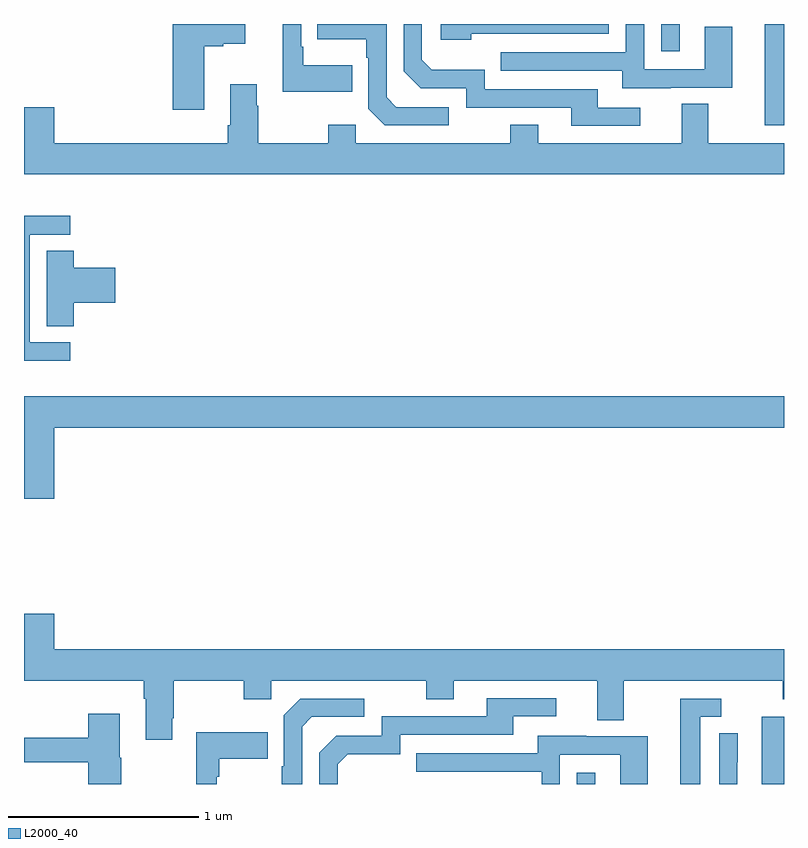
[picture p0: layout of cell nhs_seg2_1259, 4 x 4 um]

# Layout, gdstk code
import gdstk
lib = gdstk.Library(unit=1e-6, precision=1e-09)
def R(c, l, rs):  # rectangles x0, y0, x1, y1
    for r in rs: c.add(gdstk.rectangle(r[:2], r[2:], *l))
def P(c, l, *ps):  # polygons
    for p in ps: c.add(gdstk.Polygon(p, *l))
L2000_40 = (2000, 40)

nhs_seg2_1259 = lib.new_cell('nhs_seg2_1259')
R(nhs_seg2_1259, L2000_40, [(179.91,605.8,180.007,605.86), (180.884,605.8,181,606.154), (180.899,609.267,181,609.8), (180.354,609.657,180.451,609.8)])
P(nhs_seg2_1259, L2000_40, [(179.354,609.75),(180.078,609.75),(180.078,609.8),(179.193,609.8),(179.193,609.716),(179.354,609.716)],
  [(180.244,609.36),(180.019,609.36),(180.019,609.456),(179.424,609.456),(179.424,609.559),(179.147,609.559),(179.094,609.612),(179.094,609.8),(178.998,609.8),(178.998,609.552),(179.088,609.462),(179.328,609.462),(179.328,609.36),(179.879,609.36),(179.879,609.264),(180.244,609.264)],
  [(179.236,609.363),(178.959,609.363),(178.908,609.414),(178.908,609.8),(178.543,609.8),(178.543,609.719),(178.8,609.719),(178.8,609.623),(178.812,609.623),(178.812,609.354),(178.899,609.267),(179.236,609.267)],
  [(177.949,609.683),(178.049,609.683),(178.049,609.695),(178.165,609.695),(178.165,609.8),(177.782,609.8),(177.782,609.348),(177.949,609.348)],
  [(178.727,609.583),(178.471,609.583),(178.471,609.679),(178.458,609.679),(178.458,609.8),(178.361,609.8),(178.361,609.443),(178.727,609.443)],
  [(180.403,609.465),(180.727,609.465),(180.727,609.785),(180.582,609.785),(180.582,609.561),(180.264,609.561),(180.264,609.8),(180.168,609.8),(180.168,609.651),(179.509,609.651),(179.509,609.555),(180.149,609.555),(180.149,609.461),(180.403,609.461)],
  [(181,609.172),(180.601,609.172),(180.601,609.38),(180.461,609.38),(180.461,609.172),(179.707,609.172),(179.707,609.271),(179.56,609.271),(179.56,609.172),(178.746,609.172),(178.746,609.271),(178.6,609.271),(178.6,609.172),(178.233,609.172),(178.233,609.371),(178.225,609.371),(178.225,609.484),(178.085,609.484),(178.085,609.268),(178.073,609.268),(178.073,609.172),(177.16,609.172),(177.16,609.361),(177,609.361),(177,609.008),(181,609.008)],
  [(177.244,608.124),(177.03,608.124),(177.03,608.691),(177.244,608.691),(177.244,608.79),(177,608.79),(177,608.028),(177.244,608.028)],
  [(177.263,608.333),(177.481,608.333),(177.481,608.516),(177.263,608.516),(177.263,608.606),(177.119,608.606),(177.119,608.209),(177.263,608.209)],
  [(177.16,607.676),(181,607.676),(181,607.84),(177,607.84),(177,607.302),(177.16,607.302)],
  [(177.781,606.145),(177.789,606.145),(177.789,606.344),(178.156,606.344),(178.156,606.245),(178.302,606.245),(178.302,606.344),(179.116,606.344),(179.116,606.245),(179.263,606.245),(179.263,606.344),(180.017,606.344),(180.017,606.136),(180.157,606.136),(180.157,606.344),(180.994,606.344),(180.994,606.245),(181,606.245),(181,606.508),(177.16,606.508),(177.16,606.697),(177,606.697),(177,606.344),(177.629,606.344),(177.629,606.248),(177.641,606.248),(177.641,606.033),(177.781,606.033)],
  [(178.65,605.904),(178.703,605.957),(178.98,605.957),(178.98,606.06),(179.575,606.06),(179.575,606.156),(179.8,606.156),(179.8,606.252),(179.435,606.252),(179.435,606.156),(178.884,606.156),(178.884,606.054),(178.644,606.054),(178.554,605.964),(178.554,605.8),(178.65,605.8)],
  [(178.464,606.102),(178.515,606.153),(178.792,606.153),(178.792,606.249),(178.455,606.249),(178.368,606.162),(178.368,605.893),(178.356,605.893),(178.356,605.8),(178.464,605.8)],
  [(180.559,606.153),(180.67,606.153),(180.67,606.249),(180.455,606.249),(180.455,605.8),(180.559,605.8)],
  [(177.513,605.937),(177.505,605.937),(177.505,606.169),(177.338,606.169),(177.338,606.043),(177,606.043),(177,605.914),(177.338,605.914),(177.338,605.8),(177.513,605.8)],
  [(178.014,605.837),(178.027,605.837),(178.027,605.933),(178.283,605.933),(178.283,606.073),(177.906,606.073),(177.906,605.8),(178.014,605.8)],
  [(180.755,605.914),(180.756,605.914),(180.756,606.068),(180.66,606.068),(180.66,605.8),(180.755,605.8)],
  [(179.82,605.955),(180.138,605.955),(180.138,605.8),(180.283,605.8),(180.283,606.051),(179.959,606.051),(179.959,606.055),(179.705,606.055),(179.705,605.961),(179.065,605.961),(179.065,605.865),(179.724,605.865),(179.724,605.8),(179.82,605.8)])

lib.write_gds('nhs_seg2_1259.gds')
